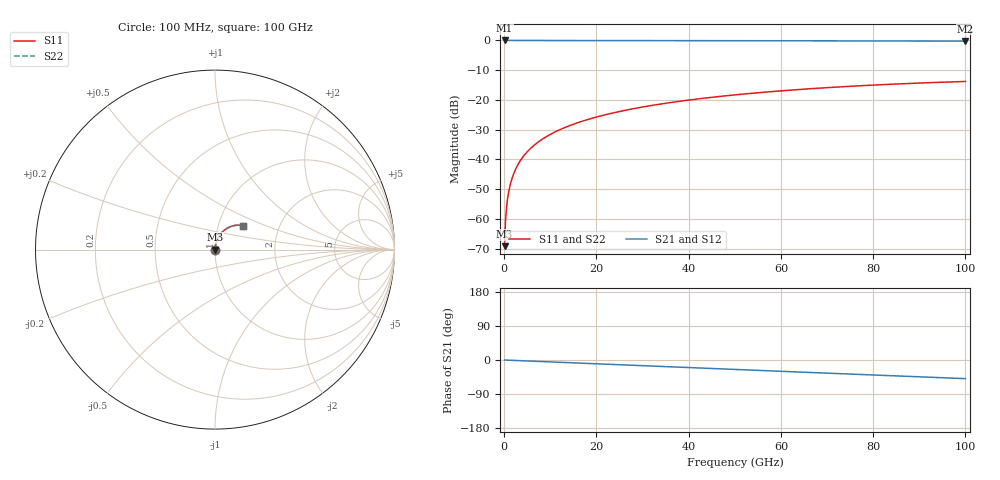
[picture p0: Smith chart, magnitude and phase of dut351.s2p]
! Touchstone file exported from HFSS 2026.1.0
!  File:  C:/ffzhzh/LocalFiles/Ansys_Project_Files/temp_train_TSV_351_1783510000_41296.aedt
!  Generated:  07:28:04 PM Jul  8, 2026
!  Design:  TSV
!  Project:  temp_train_TSV_351_1783510000_41296
! Variables:
!  h_bsmrdl = 2um
!  h_ox = 20um
!  h_rdl = 5um
!  h_sub = 94.52um
!  h_tmrdl = 5um
!  h_tsv = 94.52um
!  h_via = 3um
!  l_bsmrdl = 300um
!  l_sub = 418.24um
!  l_tmrdl = 200um
!  m_sub = 200um
!  pitch = 54.38um
!  r_tsv = 9.12um
!  s_tmrdl = 10um
!  w_bsmrdl = 18um
!  w_sub = 500um
!  w_tmrdl = 12um
!  x_tsv_center1 = 206um
!  x_tsv_center2 = 524um
!  x_tsv_center3 = 736um
!  x_tsv_center4 = 1054um
!  x_tsv_center5 = 1266um
!  x_tsv_center6 = 1584um
# GHz S MA R 50.000000
! Terminal data exported
! Port[1] = TSV1_1_T1
! Port[2] = TSV1_1_T2
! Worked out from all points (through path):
!   1000 points, 100 MHz to 100 GHz, reference 50 ohm
!   highest |S21| = 0.00 dB at 100 MHz (marker M1); lowest = -0.2 dB at 100 GHz (marker M2)
!   group delay of S21, straight-line fit = 1.37 ps
!   lowest |S11| = -69.2 dB at 100 MHz (marker M3), VSWR 1.00, Z = 50 + j0.0306 ohm
!   |S11| at or under -10 dB: start of sweep to end of sweep
!   |S22| runs from -69.2 to -13.8 dB; largest |S21 - S12| = 3.5e-15
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0.1  0.0003467 61.8  0.9998 -0.1  0.9998 -0.1  0.0003467 61.8
! Gamma 0 0 0 0
! Port Impedance 50 0 50 0
0.3  0.0009261 77.7  0.9998 -0.2  0.9998 -0.2  0.0009261 77.7
0.7  0.002059 81.7  0.9997 -0.4  0.9997 -0.4  0.002059 81.7
0.8  0.002333 82.1  0.9997 -0.4  0.9997 -0.4  0.002333 82.1
1  0.002876 82.7  0.9997 -0.5  0.9997 -0.5  0.002876 82.7
1.3  0.003684 83.3  0.9996 -0.7  0.9996 -0.7  0.003684 83.3
1.7  0.004752 83.8  0.9995 -0.9  0.9995 -0.9  0.004752 83.8
2.3  0.006344 84.2  0.9995 -1.2  0.9995 -1.2  0.006344 84.2
3  0.008185 84.3  0.9994 -1.5  0.9994 -1.5  0.008185 84.3
3.8  0.01028 84.4  0.9993 -1.9  0.9993 -1.9  0.01028 84.4
4.8  0.01287 84.2  0.9992 -2.4  0.9992 -2.4  0.01287 84.2
6  0.01598 84.0  0.999 -3.0  0.999 -3.0  0.01598 84.0
8.8  0.02319 83.1  0.9987 -4.4  0.9987 -4.4  0.02319 83.1
12.4  0.03238 81.6  0.9983 -6.2  0.9983 -6.2  0.03238 81.6
16.8  0.04349 79.7  0.9976 -8.4  0.9976 -8.4  0.04349 79.7
24.2  0.06187 76.3  0.9964 -12.1  0.9964 -12.1  0.06187 76.3
33.4  0.08404 72.0  0.9945 -16.7  0.9945 -16.7  0.08404 72.0
41.2  0.1021 68.2  0.9926 -20.6  0.9926 -20.6  0.1021 68.2
50.1  0.1217 63.9  0.9902 -25.0  0.9902 -25.0  0.1217 64.0
66.7  0.1548 56.0  0.9852 -33.1  0.9852 -33.1  0.1548 56.0
83.4  0.1828 48.0  0.9801 -41.2  0.9801 -41.2  0.1828 48.0
100  0.2042 40.1  0.9755 -49.2  0.9755 -49.2  0.2042 40.1
